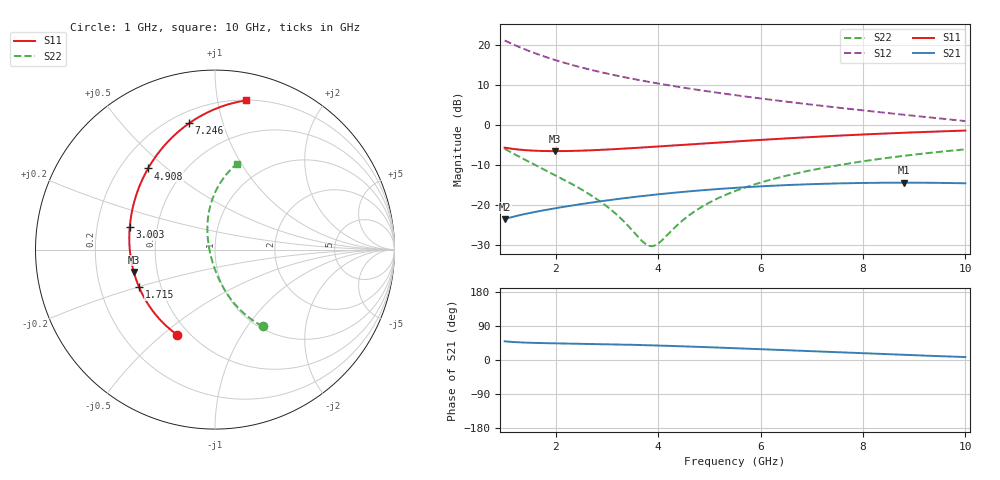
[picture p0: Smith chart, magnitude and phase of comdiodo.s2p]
# Hz S RI R 50
! Freq.	S11(V2)	S12(V2)	S21(V2)	S22(V2)
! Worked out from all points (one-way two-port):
!   10001 points, 1 GHz to 10 GHz, reference 50 ohm
!   highest |S21| = -14.45 dB at 8.798 GHz (marker M1); lowest = -23.6 dB at 1 GHz (marker M2)
!   lowest |S11| = -6.6 dB at 1.987 GHz (marker M3), VSWR 2.77, Z = 18.3 - j5.85 ohm
!   |S11| at or under -10 dB: nowhere
!   |S22| runs from -30.3 to -6.0 dB; largest |S21 - S12| = 11
!   S11 on the Smith chart (normalised r, x): 1 GHz: 0.43, -0.56; 1.715 GHz: 0.38, -0.20; 3.003 GHz: 0.35, +0.12; 4.908 GHz: 0.31, +0.43; 7.246 GHz: 0.27, +0.78; 10 GHz: 0.20, +1.21
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1e9  -0.2112 -0.4741  0.0433 0.0503  -4.068 10.59  0.2653 -0.4269
1.158244e9  -0.2852 -0.4122  0.0478 0.0523  -2.701 9.824  0.2065 -0.3912
1.237086e9  -0.3145 -0.3814  0.0498 0.0533  -2.152 9.44  0.1826 -0.3734
1.320079e9  -0.341 -0.3494  0.0518 0.0543  -1.65 9.045  0.1607 -0.355
1.504874e9  -0.387 -0.2812  0.0558 0.0566  -0.756 8.216  0.1212 -0.3159
1.714747e9  -0.4231 -0.2092  0.0601 0.0594  -0.0174 7.371  0.0876 -0.2753
1.987467e9  -0.4526 -0.1244  0.0653 0.063  0.6504 6.426  0.056 -0.2286
2.227409e9  -0.4675 -0.057  0.0698 0.0662  1.058 5.718  0.0355 -0.1921
2.500345e9  -0.4759 0.0129  0.075 0.0697  1.387 5.029  0.0176 -0.1549
3.003309e9  -0.4749 0.127  0.0851 0.0756  1.758 4.004  -0.00582 -0.0948
3.359696e9  -0.4654 0.1988  0.0925 0.0792  1.907 3.421  -0.0176 -0.0567
3.748004e9  -0.449 0.2703  0.101 0.0823  2 2.886  -0.0274 -0.0178
4.000369e9  -0.4355 0.3137  0.1066 0.0838  2.034 2.582  -0.0323 0.00643
4.436086e9  -0.408 0.3833  0.1163 0.0855  2.056 2.124  -0.0384 0.0471
4.907949e9  -0.3729 0.4521  0.1269 0.086  2.041 1.705  -0.042 0.0899
5.500473e9  -0.3224 0.5295  0.1397 0.0844  1.982 1.267  -0.0418 0.1427
6.220138e9  -0.2531 0.611  0.154 0.0797  1.872 0.8401  -0.0347 0.2054
7.000032e9  -0.1708 0.6842  0.1671 0.0713  1.723 0.4786  -0.0181 0.2712
7.246028e9  -0.1436 0.7042  0.1706 0.0681  1.672 0.3829  -0.0109 0.2913
8.501587e9  -5.12e-05 0.7831  0.1828 0.0492  1.401 0.00496  0.0391 0.3866
8.798325e9  0.0344 0.7963  0.1842 0.0444  1.337 -0.0613  0.054 0.4069
1e10  0.1723 0.831  0.1845 0.0253  1.085 -0.2591  0.1234 0.4785
